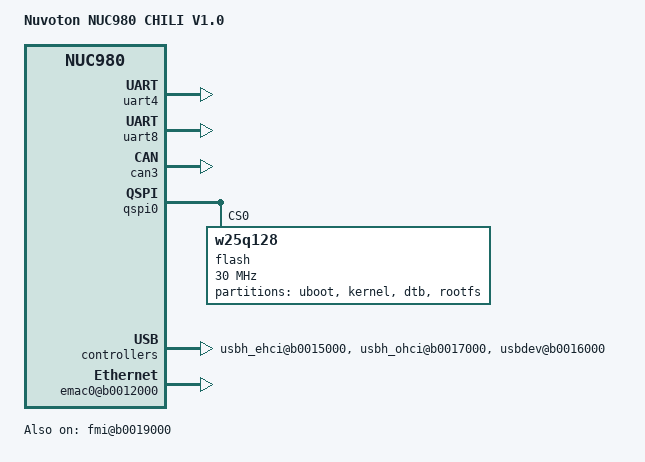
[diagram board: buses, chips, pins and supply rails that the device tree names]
/*
 * Device Tree Source for NUC980 DEV board
 *
 * Copyright (C) 2018 Nuvoton Technology Corp.
 *
 * The code contained herein is licensed under the GNU General Public
 * License. You may obtain a copy of the GNU General Public License
 * Version 2 or later at the following locations:
 *
 * http://www.opensource.org/licenses/gpl-license.html
 * http://www.gnu.org/copyleft/gpl.html
 */
/dts-v1/;

#include "nuc980.dtsi"

/ {
	model = "Nuvoton NUC980 CHILI V1.0";
	compatible = "nuvoton,nuc980-dev-v1.0", "nuvoton,nuc980";

	chosen {
		bootargs = "root=/dev/ram0 console=ttyS0,115200n8 rdinit=/sbin/init mem=64M lpj=744448";
	};

	apb {
		uart1: serial@b0071000 {
			status = "disabled";
		};

		uart2: serial@b0072000 {
			status = "disabled";
		};

		uart3: serial@b0073000 {
			status = "disabled";
		};

		uart4: serial@b0074000 {
			pinctrl-names = "default";
			pinctrl-0 = <&pinctrl_uart4_PC>;
			pdma-enable = <1>;
			status = "okay";		
		};

		uart5: serial@b0075000 {
			status = "disabled";
		};

		uart6: serial@b0076000 {
			status = "disabled";
		};

		uart7: serial@b0077000 {
			status = "disabled";
		};

		uart8: serial@b0078000 {
			pinctrl-names = "default";
			pinctrl-0 = <&pinctrl_uart8_PC>;
			pdma-enable = <1>;
			status = "okay";
		};

		uart9: serial@b0079000 {
			status = "disabled";
		};

		can0: can@b00a0000 {
			status = "disabled";
		};

		can1: can@b00a1000 {
			status = "disabled";
		};

		can3: can@b00a3000 {
			pinctrl-0 = <&pinctrl_can3_PA>;
			status = "okay";
		};

		rtc: rtc@b0041000 {
			status = "disabled";
		};

		nadc: nadc@b0043000 {
			status = "disabled";
		};

		pwm0: pwm@b0058000 {
			status = "disabled";
		};

		pwm1: pwm@b0059000 {
			status = "disabled";
		};


		etimer0: etimer0@b0050000 {
			status = "okay";
		};

		etimer1: etimer1@b0050100 {
			status = "okay";
		};

		etimer2: etimer2@b0051000 {
			status = "okay";
		};

		etimer3: etimer3@b0051100 {
			status = "okay";
		};

		i2c0: i2c0@b0080000 {
			status = "disabled";

			nau8822: nau8822@1a {
				compatible = "nuvoton,nau8822";
				reg = <0x1a> ;
			};
		};

		i2c1: i2c1@b0081000 {
			status = "disabled";
			pinctrl-0 = <&pinctrl_i2c1_PB>;
		};


		i2c2: i2c2@b0082000 {
			status = "disabled";
			pinctrl-0 = <&pinctrl_i2c2_PB>;
		};

		qspi0: spi@b0060000 {
			status = "okay";
			flash: flash@0 {
				compatible = "w25q128";
				#address-cells = <1>;
				#size-cells = <1>;
				reg = <0>;
				spi-max-frequency = <30000000>;

				partition@0 {
					label = "uboot";
					reg = <0x00000000 0x0040000>;
				};
				
				partition@1 {
					label = "kernel";
					reg = <0x200000 0xA00000>;  
				};
				partition@2 {
					label = "dtb";
					reg = <0xC00000 0x0010000>;
				};
				
				partition@3 {
					label = "rootfs";
					reg = <0xC10000 0x1200000>;
				};
			};
		};
	};

	ahb {

		usbh_ehci@b0015000 {
			pinctrl-0 = <>; /*disable PWREN and OVC*/
			ov_active = <1>;/*disable PWREN and OVC*/
			status = "okay";
		};
		usbh_ohci@b0017000{
			ov_active = <1>;/*disable PWREN and OVC*/
			status = "okay";
		};

		usbdev@b0016000 {
			status = "okay";
		};

		fmi@b0019000 {
			compatible = "nuvoton,nuc980-fmi", "nand";
			pinctrl-names = "default";
			pinctrl-0 = <&pinctrl_nand>;
			status = "okay";
			nand-ecc-mode = "hw_oob_first";
			nand-ecc-algo = "bch";
			nand-bus-width = <8>;
			nand-ecc-strength = <8>;
			nand-ecc-step-size = <512>;
			nand-on-flash-bbt;

			partitions {
				compatible = "fixed-partitions";
				#address-cells = <1>;
				#size-cells = <1>;

				uboot@0 {
					label = "uboot";
					reg = <0x0000000 0x200000>;
					read-only;
				};
				kernel@200000 {
					label = "kernel";
					reg = <0x200000 0x1400000>;
				};
				user@1600000 {
					label = "user";
					reg = <0x1600000 0x6480000>;
				};
			};
		};

		sdh@b0018000 {
			status = "okay";
		};

		emac0@b0012000 {
			status = "okay";
		};
		emac1@b0022000 {
			status = "disabled";
		};
		ccap0@b0024000 {
			status = "disabled";
		};
		i2c_gpio0: i2c-gpio-0 {
			status = "disabled";
		};
		ccap1@b0014000 {
			status = "disabled";
		};
		i2c_gpio1: i2c-gpio-1 {
			status = "disabled";
		};
		dma@b0008000 {
			status = "okay";
		};

		i2s: i2s@b0020000 {
			status = "disabled";
		};

		i2s_pcm: i2s_pcm {
			status = "disabled";
		};

		sound {
			compatible = "nuvoton,nuc980-audio";
			i2s-controller = <&i2s>;
			i2s-platform = <&i2s_pcm>;
			status = "disabled";
		};
		ebi: ebi@b0010000 {
			status = "disabled";
		};
	};
};
